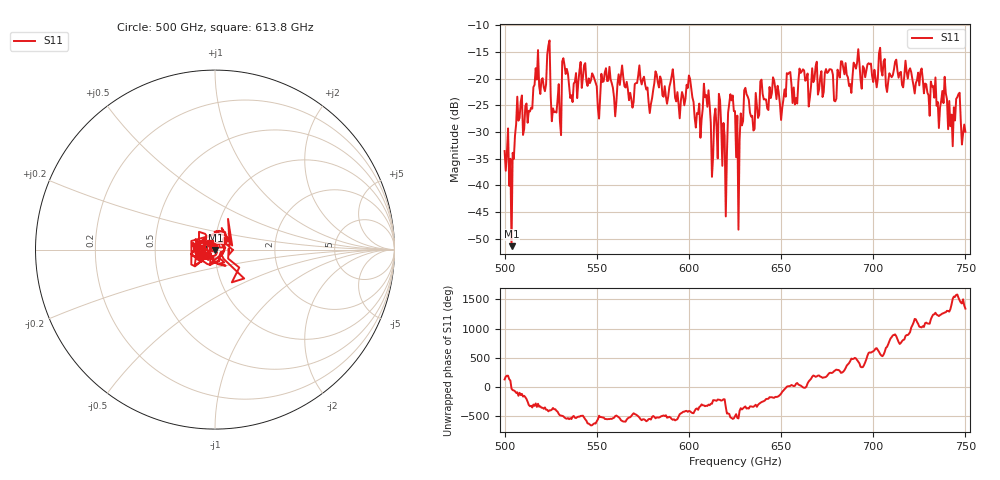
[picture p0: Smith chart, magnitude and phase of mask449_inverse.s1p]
!Created with skrf (http://scikit-rf.org).
# GHz S MA R 50.0
!freq magS11 angS11
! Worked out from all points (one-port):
!   401 points, 500 GHz to 750 GHz, reference 50 ohm
!   lowest |S11| = -51.4 dB at 503.8 GHz (marker M1), VSWR 1.01, Z = 50.2 - j0.148 ohm
!   |S11| at or under -10 dB: start of sweep to end of sweep
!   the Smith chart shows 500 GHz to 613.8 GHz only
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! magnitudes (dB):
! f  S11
! 500 GHz  -33.6
! 503.8 GHz  -51.4
! 508.1 GHz  -27.4
! 513.8 GHz  -26.1
! 516.9 GHz  -18.0
! 523.8 GHz  -13.8
! 526.9 GHz  -26.3
! 531.2 GHz  -16.7
! 562.5 GHz  -21.2
! 593.8 GHz  -22.5
! 605 GHz  -26.6
! 609.4 GHz  -23.0
! 612.5 GHz  -38.4
! 617.5 GHz  -28.6
! 619.4 GHz  -30.7
! 622.5 GHz  -22.9
! 625 GHz  -26.1
! 626.9 GHz  -48.3
! 631.2 GHz  -22.9
! 634.4 GHz  -26.9
! 640 GHz  -22.8
! 656.2 GHz  -24.5
! 687.5 GHz  -21.0
! 718.8 GHz  -20.0
! 738.8 GHz  -19.6
! 741.9 GHz  -28.9
! 746.2 GHz  -22.9
! 750 GHz  -29.9
